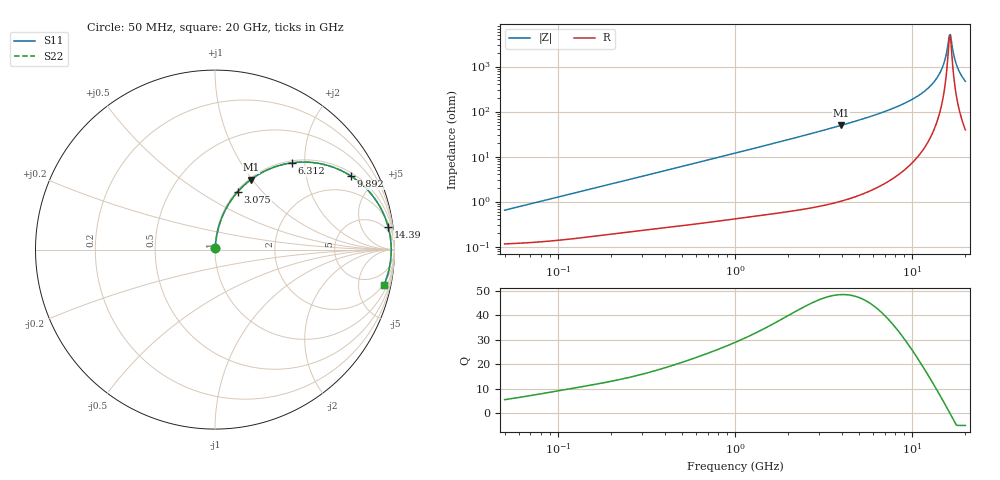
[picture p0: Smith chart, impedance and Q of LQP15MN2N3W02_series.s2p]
!Murata Part Number: LQP15MN2N3W02
!These Parameters are Measured in Series Mode Connection
!  o--[Z]--o
!Port1  Port2
!  o-------o
!Freq. Start=50[MHz] Stop=20[GHz], 401[Steps]
# Hz S RI R 50
!Freq.(Hz) S11(Real) S11(Imag) S21(Real) S21(Imag) S12(Real) S12(Imag) S22(Real) S22(Imag)
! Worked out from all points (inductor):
!   401 points, 50 MHz to 20 GHz, reference 50 ohm
!   read as one part in series: L = 2.01 nH near 51.52 MHz
!   highest Q = 48.4 at 3.967 GHz (marker M1), where L = 1.98 nH
!   self-resonance near 16.22 GHz
!   S11 on the Smith chart (normalised r, x): 50 MHz: 1.00, +0.01; 3.075 GHz: 1.02, +0.75; 6.312 GHz: 1.04, +1.73; 9.892 GHz: 1.14, +3.63; 14.39 GHz: 3, +15; 20 GHz: 1.78, -9.36
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5e7  0.00118 0.0063  0.9988 -0.0063  0.9988 -0.0063  0.00118 0.0063
1.364002e8  0.00185 0.0169  0.9981 -0.0169  0.9981 -0.0169  0.00185 0.0169
3.721004e8  0.00452 0.0446  0.9955 -0.0446  0.9955 -0.0446  0.00452 0.0446
1e9  0.0179 0.1163  0.9821 -0.1163  0.9821 -0.1163  0.0179 0.1163
2.728004e9  0.1026 0.2926  0.8974 -0.2926  0.8974 -0.2926  0.1026 0.2926
3.075291e9  0.1273 0.3228  0.8727 -0.3228  0.8727 -0.3228  0.1273 0.3228
3.967106e9  0.2001 0.3899  0.7999 -0.3899  0.7999 -0.3899  0.2001 0.3899
6.311513e9  0.4298 0.4835  0.5702 -0.4835  0.5702 -0.4835  0.4298 0.4835
7.442007e9  0.5439 0.485  0.4561 -0.485  0.4561 -0.485  0.5439 0.485
9.892087e9  0.7594 0.4089  0.2406 -0.4089  0.2406 -0.4089  0.7594 0.4089
1.238412e10  0.9049 0.2623  0.0951 -0.2623  0.0951 -0.2623  0.9049 0.2623
1.354865e10  0.9455 0.1844  0.0545 -0.1844  0.0545 -0.1844  0.9455 0.1844
1.438523e10  0.9647 0.128  0.0353 -0.128  0.0353 -0.128  0.9647 0.128
1.527346e10  0.977 0.0691  0.023 -0.0691  0.023 -0.0691  0.977 0.0691
1.597544e10  0.9814 0.0239  0.0186 -0.0239  0.0186 -0.0239  0.9814 0.0239
1.621653e10  0.982 0.00881  0.018 -0.00881  0.018 -0.00881  0.982 0.00881
1.646126e10  0.9821 -0.00633  0.0179 0.00633  0.0179 0.00633  0.9821 -0.00633
1.670968e10  0.9817 -0.0215  0.0183 0.0215  0.0183 0.0215  0.9817 -0.0215
1.747767e10  0.9777 -0.0667  0.0223 0.0667  0.0223 0.0667  0.9777 -0.0667
1.800918e10  0.9728 -0.0965  0.0272 0.0965  0.0272 0.0965  0.9728 -0.0965
1.912117e10  0.9576 -0.1545  0.0424 0.1545  0.0424 0.1545  0.9576 -0.1545
2e10  0.9417 -0.1963  0.0583 0.1963  0.0583 0.1963  0.9417 -0.1963
